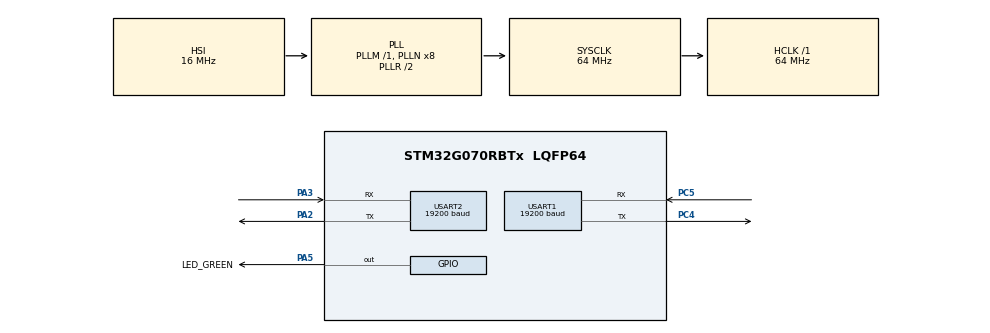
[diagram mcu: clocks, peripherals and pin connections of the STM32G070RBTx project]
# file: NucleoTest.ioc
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Mcu.Family=STM32G0
Mcu.Name=STM32G070RBTx
Mcu.Package=LQFP64
NVIC.USART1_IRQn=true\:0\:0\:false\:false\:true\:true\:true
NVIC.USART2_IRQn=true\:0\:0\:false\:false\:true\:true\:true
PA13.GPIO_Label=TMS
PA13.Mode=Serial_Wire
PA13.Signal=SYS_SWDIO
PA14-BOOT0.GPIO_Label=TCK
PA14-BOOT0.Mode=Serial_Wire
PA14-BOOT0.Signal=SYS_SWCLK
PA2.GPIO_PuPd=GPIO_PULLUP
PA2.Mode=Asynchronous
PA2.Signal=USART2_TX
PA3.GPIO_PuPd=GPIO_PULLUP
PA3.Mode=Asynchronous
PA3.Signal=USART2_RX
PA5.GPIO_Label=LED_GREEN
PA5.GPIO_Speed=GPIO_SPEED_FREQ_HIGH
PA5.Signal=GPIO_Output
PC13.Mode=SYS_WakeUp1
PC13.Signal=SYS_WKUP2
PC14-OSC32_IN\ (PC14).Mode=LSE-External-Oscillator
PC14-OSC32_IN\ (PC14).Signal=RCC_OSC32_IN
PC15-OSC32_OUT\ (PC15).Mode=LSE-External-Oscillator
PC15-OSC32_OUT\ (PC15).Signal=RCC_OSC32_OUT
PC4.Mode=Asynchronous
PC4.Signal=USART1_TX
PC5.Mode=Asynchronous
PC5.Signal=USART1_RX
PF0-OSC_IN\ (PF0).GPIO_Label=MCO
PF0-OSC_IN\ (PF0).Mode=HSE-External-Clock-Source
PF0-OSC_IN\ (PF0).Signal=RCC_OSC_IN
ProjectManager.HeapSize=0x200
ProjectManager.StackSize=0x400
ProjectManager.TargetToolchain=EWARM V8.32
RCC.ADCFreq_Value=64000000
RCC.AHBFreq_Value=64000000
RCC.CortexFreq_Value=64000000
RCC.EXTERNAL_CLOCK_VALUE=12288000
RCC.HCLKFreq_Value=64000000
RCC.HSE_VALUE=8000000
RCC.HSI_VALUE=16000000
RCC.SYSCLKFreq_VALUE=64000000
RCC.SYSCLKSource=RCC_SYSCLKSOURCE_PLLCLK
RCC.VCOOutputFreq_Value=128000000
USART1.BaudRate=19200
USART1.VirtualMode-Asynchronous=VM_ASYNC
USART2.BaudRate=19200
USART2.VirtualMode-Asynchronous=VM_ASYNC
USART2.WordLength=WORDLENGTH_8B
VP_SYS_VS_DBSignals.Mode=DisableDeadBatterySignals
board=NUCLEO-G070RB

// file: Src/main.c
/* USER CODE BEGIN Header */
/**
  ******************************************************************************
  * @file           : main.c
  * @brief          : Main program body
  ******************************************************************************
  * @attention
  *
  * <h2><center>&copy; Copyright (c) 2021 STMicroelectronics.
  * All rights reserved.</center></h2>
  *
  * This software component is licensed by ST under BSD 3-Clause license,
  * the "License"; You may not use this file except in compliance with the
  * License. You may obtain a copy of the License at:
  *                        opensource.org/licenses/BSD-3-Clause
  *
  ******************************************************************************
  */
/* USER CODE END Header */

#include "main.h"

/* USER CODE BEGIN Includes */
#include <stdbool.h>
#include <string.h>
#include "ringbuf.h"

/* USER CODE END Includes */

UART_HandleTypeDef huart1;
UART_HandleTypeDef huart2;

/* USER CODE BEGIN PV */
#define RBSIZE 32

ringbuf_t USART1_rb;
ringbuf_t USART2_rb;
uint8_t USART1_rbraw[RBSIZE] = { 0, };
uint8_t USART2_rbraw[RBSIZE] = { 0, };
char tmpBuf1[RBSIZE] = { 0, };
char tmpBuf2[RBSIZE] = { 0, };

/* USER CODE END PV */

void SystemClock_Config(void);
static void MX_GPIO_Init(void);
static void MX_USART2_UART_Init(void);
static void MX_USART1_UART_Init(void);

int main(void)
{

  /* MCU Configuration--------------------------------------------------------*/

  /* Reset of all peripherals, Initializes the Flash interface and the Systick. */
  HAL_Init();

  /* Configure the system clock */
  SystemClock_Config();

  /* Initialize all configured peripherals */
  MX_GPIO_Init();
  MX_USART2_UART_Init();
  MX_USART1_UART_Init();
  /* USER CODE BEGIN 2 */

  // 링버퍼 초기화
  ringbuf_init(&USART1_rb, USART1_rbraw, (uint8_t)RBSIZE);
  ringbuf_init(&USART2_rb, USART2_rbraw, (uint8_t)RBSIZE);

  __HAL_UART_ENABLE_IT(&huart1, UART_IT_RXNE);
  __HAL_UART_ENABLE_IT(&huart2, UART_IT_RXNE);

  /* USER CODE END 2 */

  /* Infinite loop */
  /* USER CODE BEGIN WHILE */
  while (1)
  {
	  // USART1 read -> USART2 write
	  {
		  int used = ringbuf_elements(&USART1_rb);      // 링버퍼에 데이터가 들어있는지 조사
		  if (used > 0)
		  {
			  memset(&tmpBuf1, 0, sizeof(tmpBuf1));

			  for (int i = 0; i < used; i++)
			  {
				  tmpBuf1[i] = ringbuf_get(&USART1_rb);
			  }

			  HAL_UART_Transmit(&huart2, (uint8_t*)tmpBuf1, used, 10);
		  }
	  }

	  // USART2 read -> USART1 write
	  {
		  int used = ringbuf_elements(&USART2_rb);      // 링버퍼에 데이터가 들어있는지 조사
		  if (used > 0)
		  {
			  memset(&tmpBuf2, 0, sizeof(tmpBuf2));

			  for (int i = 0; i < used; i++)
			  {
				  tmpBuf2[i] = ringbuf_get(&USART2_rb);
			  }

			  HAL_UART_Transmit(&huart1, (uint8_t*)tmpBuf2, used, 10);
		  }
	  }

	  HAL_Delay(10);

	  //char* testBuff = "HELLO";
	  //strcpy(tmpwbBuff, testBuff);
	  //HAL_UART_Transmit(&huart2, (uint8_t*)testBuff, strlen(testBuff), 10);
	  //HAL_Delay(1000);

    /* USER CODE END WHILE */

  }
}

void SystemClock_Config(void)
{
  RCC_OscInitTypeDef RCC_OscInitStruct = {0};
  RCC_ClkInitTypeDef RCC_ClkInitStruct = {0};
  RCC_PeriphCLKInitTypeDef PeriphClkInit = {0};

  /** Configure the main internal regulator output voltage
  */
  HAL_PWREx_ControlVoltageScaling(PWR_REGULATOR_VOLTAGE_SCALE1);
  /** Initializes the CPU, AHB and APB busses clocks
  */
  RCC_OscInitStruct.OscillatorType = RCC_OSCILLATORTYPE_HSI;
  RCC_OscInitStruct.HSIState = RCC_HSI_ON;
  RCC_OscInitStruct.HSIDiv = RCC_HSI_DIV1;
  RCC_OscInitStruct.HSICalibrationValue = RCC_HSICALIBRATION_DEFAULT;
  RCC_OscInitStruct.PLL.PLLState = RCC_PLL_ON;
  RCC_OscInitStruct.PLL.PLLSource = RCC_PLLSOURCE_HSI;
  RCC_OscInitStruct.PLL.PLLM = RCC_PLLM_DIV1;
  RCC_OscInitStruct.PLL.PLLN = 8;
  RCC_OscInitStruct.PLL.PLLP = RCC_PLLP_DIV2;
  RCC_OscInitStruct.PLL.PLLR = RCC_PLLR_DIV2;
  if (HAL_RCC_OscConfig(&RCC_OscInitStruct) != HAL_OK)
  {
    Error_Handler();
  }
  /** Initializes the CPU, AHB and APB busses clocks
  */
  RCC_ClkInitStruct.ClockType = RCC_CLOCKTYPE_HCLK|RCC_CLOCKTYPE_SYSCLK
                              |RCC_CLOCKTYPE_PCLK1;
  RCC_ClkInitStruct.SYSCLKSource = RCC_SYSCLKSOURCE_PLLCLK;
  RCC_ClkInitStruct.AHBCLKDivider = RCC_SYSCLK_DIV1;
  RCC_ClkInitStruct.APB1CLKDivider = RCC_HCLK_DIV1;

  if (HAL_RCC_ClockConfig(&RCC_ClkInitStruct, FLASH_LATENCY_2) != HAL_OK)
  {
    Error_Handler();
  }
  /** Initializes the peripherals clocks
  */
  PeriphClkInit.PeriphClockSelection = RCC_PERIPHCLK_USART1|RCC_PERIPHCLK_USART2;
  PeriphClkInit.Usart1ClockSelection = RCC_USART1CLKSOURCE_PCLK1;
  PeriphClkInit.Usart2ClockSelection = RCC_USART2CLKSOURCE_PCLK1;
  if (HAL_RCCEx_PeriphCLKConfig(&PeriphClkInit) != HAL_OK)
  {
    Error_Handler();
  }
}

static void MX_USART1_UART_Init(void)
{

  huart1.Instance = USART1;
  huart1.Init.BaudRate = 19200;
  huart1.Init.WordLength = UART_WORDLENGTH_8B;
  huart1.Init.StopBits = UART_STOPBITS_1;
  huart1.Init.Parity = UART_PARITY_NONE;
  huart1.Init.Mode = UART_MODE_TX_RX;
  huart1.Init.HwFlowCtl = UART_HWCONTROL_NONE;
  huart1.Init.OverSampling = UART_OVERSAMPLING_16;
  huart1.Init.OneBitSampling = UART_ONE_BIT_SAMPLE_DISABLE;
  huart1.Init.ClockPrescaler = UART_PRESCALER_DIV1;
  huart1.AdvancedInit.AdvFeatureInit = UART_ADVFEATURE_NO_INIT;
  if (HAL_UART_Init(&huart1) != HAL_OK)
  {
    Error_Handler();
  }
  if (HAL_UARTEx_SetTxFifoThreshold(&huart1, UART_TXFIFO_THRESHOLD_1_8) != HAL_OK)
  {
    Error_Handler();
  }
  if (HAL_UARTEx_SetRxFifoThreshold(&huart1, UART_RXFIFO_THRESHOLD_1_8) != HAL_OK)
  {
    Error_Handler();
  }
  if (HAL_UARTEx_DisableFifoMode(&huart1) != HAL_OK)
  {
    Error_Handler();
  }

}

static void MX_USART2_UART_Init(void)
{

  huart2.Instance = USART2;
  huart2.Init.BaudRate = 19200;
  huart2.Init.WordLength = UART_WORDLENGTH_8B;
  huart2.Init.StopBits = UART_STOPBITS_1;
  huart2.Init.Parity = UART_PARITY_NONE;
  huart2.Init.Mode = UART_MODE_TX_RX;
  huart2.Init.HwFlowCtl = UART_HWCONTROL_NONE;
  huart2.Init.OverSampling = UART_OVERSAMPLING_16;
  huart2.Init.OneBitSampling = UART_ONE_BIT_SAMPLE_DISABLE;
  huart2.Init.ClockPrescaler = UART_PRESCALER_DIV1;
  huart2.AdvancedInit.AdvFeatureInit = UART_ADVFEATURE_NO_INIT;
  if (HAL_UART_Init(&huart2) != HAL_OK)
  {
    Error_Handler();
  }
  if (HAL_UARTEx_SetTxFifoThreshold(&huart2, UART_TXFIFO_THRESHOLD_1_8) != HAL_OK)
  {
    Error_Handler();
  }
  if (HAL_UARTEx_SetRxFifoThreshold(&huart2, UART_RXFIFO_THRESHOLD_1_8) != HAL_OK)
  {
    Error_Handler();
  }
  if (HAL_UARTEx_DisableFifoMode(&huart2) != HAL_OK)
  {
    Error_Handler();
  }

}

static void MX_GPIO_Init(void)
{
  GPIO_InitTypeDef GPIO_InitStruct = {0};

  /* GPIO Ports Clock Enable */
  __HAL_RCC_GPIOC_CLK_ENABLE();
  __HAL_RCC_GPIOF_CLK_ENABLE();
  __HAL_RCC_GPIOA_CLK_ENABLE();

  /*Configure GPIO pin Output Level */
  HAL_GPIO_WritePin(LED_GREEN_GPIO_Port, LED_GREEN_Pin, GPIO_PIN_RESET);

  /*Configure GPIO pin : LED_GREEN_Pin */
  GPIO_InitStruct.Pin = LED_GREEN_Pin;
  GPIO_InitStruct.Mode = GPIO_MODE_OUTPUT_PP;
  GPIO_InitStruct.Pull = GPIO_NOPULL;
  GPIO_InitStruct.Speed = GPIO_SPEED_FREQ_HIGH;
  HAL_GPIO_Init(LED_GREEN_GPIO_Port, &GPIO_InitStruct);

}

void Error_Handler(void)
{
}

/************************ (C) COPYRIGHT STMicroelectronics *****END OF FILE****/
